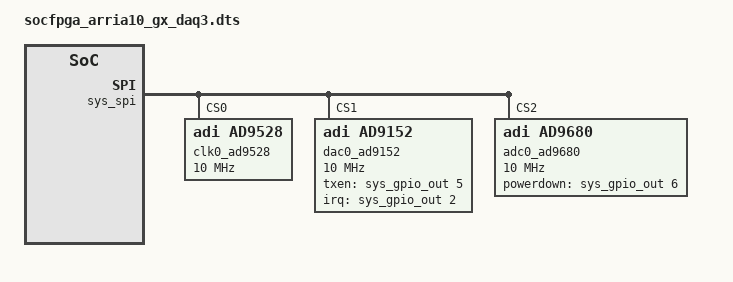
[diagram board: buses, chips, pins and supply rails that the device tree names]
// SPDX-License-Identifier: GPL-2.0
/*
 * Analog Devices AD-FMCDAQ3-EBZ
 * Link: https://wiki.analog.com/resources/eval/user-guides/ad-fmcdaq3-ebz
 *
 * hdl_project: <daq3/a10gx>
 * board_revision: <>
 *
 * Copyright 2016-2020 Analog Devices Inc.
 */
/dts-v1/;

#include <dt-bindings/iio/frequency/ad9528.h>
#include "socfpga_arria10_gx.dtsi"

/ {
	clocks {

		dma_clk: dma_clk {
			#clock-cells = <0>;
			compatible = "fixed-clock";
			clock-frequency = <226652000>;
			clock-output-names = "dma_clock";
		};
	};

	sopc0: sopc {
		

		sys_spi: spi@10050ca0 {
			compatible = "altr,spi-1.0";
			reg = <0x10050ca0 0x00000020>;
			interrupt-parent = <&sys_cpu>;
			interrupts = <7>;

			#address-cells = <1>;
			#size-cells = <0>;

            clk0_ad9528: ad9528@0 {
            		#address-cells = <1>;
            		#size-cells = <0>;
            		compatible = "adi,ad9528";
            
            		spi-cpol;
            		spi-cpha;
            		spi-max-frequency = <10000000>;
            		adi,spi-3wire-enable;
            		reg = <0>;
            
            		clock-output-names = "ad9528_out0", "ad9528_out1", "ad9528_out2", "ad9528_out3", "ad9528_out4", "ad9528_out5", "ad9528_out6", "ad9528_out7", "ad9528_out8", "ad9528_out9", "ad9528_out10", "ad9528_out11", "ad9528_out12", "ad9528_out13";
            		#clock-cells = <1>;
            
            		adi,vcxo-freq = <100000000>;
            
            		jesd204-device;
            		#jesd204-cells = <2>;
            		jesd204-sysref-provider;
            
            		/* PLL1 config */
            		adi,pll1-bypass-enable;
            		adi,osc-in-diff-enable;
            
            		/* PLL2 config */
            		/*
            		 * Valid ranges based on VCO locking range:
            		 *   1150.000 MHz - 1341.666 MHz
            		 *    862.500 MHz - 1006.250 MHz
            		 *    690.000 MHz -  805.000 MHz
            		 */
            		adi,pll2-m1-frequency = <1233333333>;
            		adi,pll2-charge-pump-current-nA = <35000>;
            
            		/* SYSREF config */
            		adi,sysref-src = <SYSREF_SRC_INTERNAL>;
            		adi,sysref-k-div = <128>;
            		adi,sysref-pattern-mode = <SYSREF_PATTERN_CONTINUOUS>;
            
            		adi,rpole2 = <RPOLE2_900_OHM>;
            		adi,rzero = <RZERO_1850_OHM>;
            		adi,cpole1 = <CPOLE1_16_PF>;
            
            		ad9528_0_c2: channel@2 {
            			reg = <2>;
            			adi,extended-name = "DAC_CLK";
            			adi,driver-mode = <DRIVER_MODE_LVDS>;
            			adi,divider-phase = <0>;
            			adi,channel-divider = <1>;
            			adi,signal-source = <SOURCE_VCO>;
            		};
            
            		ad9528_0_c4: channel@4 {
            			reg = <4>;
            			adi,extended-name = "DAC_CLK_FMC";
            			adi,driver-mode = <DRIVER_MODE_LVDS>;
            			adi,divider-phase = <0>;
            			adi,channel-divider = <2>;
            			adi,signal-source = <SOURCE_VCO>;
            		};
            
            		ad9528_0_c5: channel@5 {
            			reg = <5>;
            			adi,extended-name = "DAC_SYSREF";
            			adi,driver-mode = <DRIVER_MODE_LVDS>;
            			adi,divider-phase = <0>;
            			adi,channel-divider = <1>;
            			adi,signal-source = <SOURCE_SYSREF_VCO>;
            			adi,jesd204-sysref-chan;
            		};
            
            		ad9528_0_c6: channel@6 {
            			reg = <6>;
            			adi,extended-name = "CLKD_DAC_SYSREF";
            			adi,driver-mode = <DRIVER_MODE_LVDS>;
            			adi,divider-phase = <0>;
            			adi,channel-divider = <2>;
            			adi,signal-source = <SOURCE_SYSREF_VCO>;
            			adi,jesd204-sysref-chan;
            		};
            
            		ad9528_0_c7: channel@7 {
            			reg = <7>;
            			adi,extended-name = "CLKD_ADC_SYSREF";
            			adi,driver-mode = <DRIVER_MODE_LVDS>;
            			adi,divider-phase = <0>;
            			adi,channel-divider = <2>;
            			adi,signal-source = <SOURCE_SYSREF_VCO>;
            			adi,jesd204-sysref-chan;
            		};
            
            		ad9528_0_c8: channel@8 {
            			reg = <8>;
            			adi,extended-name = "ADC_SYSREF";
            			adi,driver-mode = <DRIVER_MODE_LVDS>;
            			adi,divider-phase = <0>;
            			adi,channel-divider = <1>;
            			adi,signal-source = <SOURCE_SYSREF_VCO>;
            			adi,jesd204-sysref-chan;
            		};
            
            		ad9528_0_c9: channel@9 {
            			reg = <9>;
            			adi,extended-name = "ADC_CLK_FMC";
            			adi,driver-mode = <DRIVER_MODE_LVDS>;
            			adi,divider-phase = <0>;
            			adi,channel-divider = <2>;
            			adi,signal-source = <SOURCE_VCO>;
            		};
            
            		ad9528_0_c13: channel@13 {
            			reg = <13>;
            			adi,extended-name = "ADC_CLK";
            			adi,driver-mode = <DRIVER_MODE_LVDS>;
            			adi,divider-phase = <0>;
            			adi,channel-divider = <1>;
            			adi,signal-source = <SOURCE_VCO>;
            		};
            	};

	            dac0_ad9152: ad9152@1 {
	            	#address-cells = <1>;
	            	#size-cells = <0>;
	            	compatible = "adi,ad9152";
            
	            	spi-cpol;
	            	spi-cpha;
	            	spi-max-frequency = <10000000>;
	            	adi,spi-3wire-enable;
	            	reg = <1>;
            
	            	clocks = <&clk0_ad9528 2>;
	            	clock-names = "dac_clk";
            
	            	/*
	            	 * | MODE | M | L | S | F | HD | N  | N' |
	            	 * |  00  | 4 | 8 | 1 | 1 | 1  | 16 | 16 |
	            	 * |  01  | 4 | 8 | 2 | 2 | 0  | 16 | 16 |
	            	 * |  02  | 4 | 4 | 1 | 2 | 0  | 16 | 16 |
	            	 * |  03  | 4 | 2 | 1 | 4 | 0  | 16 | 16 |
	            	 * |  04  | 2 | 4 | 1 | 1 | 1  | 16 | 16 |
	            	 * |  05  | 2 | 4 | 2 | 2 | 0  | 16 | 16 |
	            	 * |  06  | 2 | 2 | 1 | 2 | 0  | 16 | 16 |
	            	 * |  07  | 2 | 1 | 1 | 4 | 0  | 16 | 16 |
	            	 * |  08  | 1 | 4 | 2 | 1 | 1  | 16 | 16 |
	            	 * |  09  | 1 | 2 | 1 | 1 | 1  | 16 | 16 |
	            	 * |  10  | 1 | 1 | 1 | 2 | 0  | 16 | 16 |
	            	 * |  11  | 2 | 8 | 2 | 1 | 1  | 16 | 16 |
	            	 * |  12  | 2 | 4 | 1 | 1 | 1  | 16 | 16 |
	            	 * |  13  | 2 | 2 | 1 | 2 | 0  | 16 | 16 |
	            	 */
            
	            	adi,jesd-link-mode = <4>;
	            	adi,sysref-mode = <1>; /* JESD204_SYSREF_CONTINUOUS */
	            	adi,subclass = <1>;
	            	adi,interpolation = <1>;
	            	adi,frequency-center-shift = <0>;
            
	            	/* jesd204-fsm support */
	            	jesd204-device;
	            	#jesd204-cells = <2>;
	            	jesd204-top-device = <1>; /* This is the TOP device */
	            	jesd204-link-ids = <0>;
	            	jesd204-inputs = <&axi_ad9152_core 1 0>;
                    txen-gpios = <&sys_gpio_out 5 0>;
	                irq-gpios =  <&sys_gpio_out 2 0>;   // offset 32 
	            };
            
	            adc0_ad9680: ad9680@2 {
	            	#address-cells = <1>;
	            	#size-cells = <0>;
	            	compatible = "adi,ad9680";
            
	            	spi-cpol;
	            	spi-cpha;
	            	spi-max-frequency = <10000000>;
	            	adi,spi-3wire-enable;
	            	reg = <2>;
            
	            	/* Content of Registers: 0x16, 0x18, 0x19, 0x1A, 0x30, 0x11A, 0x934, 0x935 */
	            	adi,sfdr-optimization-config = <0xE 0xA0 0x50 0x09 0x18 0x00 0x1F 0x04>;
            
	            	clocks = <&clk0_ad9528 13>;
	            	clock-names = "adc_clk";
            
	            	/* jesd204-fsm support */
	            	jesd204-device;
	            	#jesd204-cells = <2>;
	            	jesd204-top-device = <0>; /* This is the TOP device */
	            	jesd204-link-ids = <0>;
	            	jesd204-inputs = <&axi_ad9680_core 0 0>;
            
	            	adi,powerdown-mode = <AD9208_PDN_MODE_POWERDOWN>;
            
	            	adi,sampling-frequency = /bits/ 64 <1233333333>;
	            	adi,input-clock-divider-ratio = <1>;
            
	            	adi,sysref-lmfc-offset = <0>;
	            	adi,sysref-pos-window-skew = <0>;
	            	adi,sysref-neg-window-skew = <0>;
	            	adi,sysref-mode = <AD9208_SYSREF_CONT>;
	            	adi,sysref-nshot-ignore-count = <0>;
            
	            	/* JESD204 parameters */
            
	            	adi,converters-per-device = <2>;	/* JESD204 (M) */
	            	adi,lanes-per-device = <4>;		/* JESD204 (L) */
	            	adi,octets-per-frame = <1>;		/* JESD204 (F) */
	            	adi,frames-per-multiframe = <32>;	/* JESD204 (K) */
	            	adi,converter-resolution = <14>;	/* JESD204 (N) */
	            	adi,bits-per-sample = <16>;		/* JESD204 (N') */
	            	adi,control-bits-per-sample = <2>;	/* JESD204 (CS) */
	            	adi,subclass = <1>;			/* JESD204 (SUBCLASSV) */
            
	            	/* DDC setup */
            
	            	adi,ddc-channel-number = <AD9208_FULL_BANDWIDTH_MODE>;
            
	            	ad9208_ddc0: channel@0 {
	            		reg = <0>;
	            		adi,decimation = <2>;
	            		adi,nco-mode-select = <AD9208_NCO_MODE_VIF>;
	            		adi,nco-channel-carrier-frequency-hz = /bits/ 64 <70000000>;
	            		adi,nco-channel-phase-offset = /bits/ 64 <0>;
	            	};

                       powerdown-gpios = <&sys_gpio_out 6 0>;   /// offset 32 
	            };
        };

  	    tx_dma: tx-dmac@1006c000 {
        		compatible = "adi,axi-dmac-1.00.a";
        		reg = <0x1006c000 0x1000>;
        		#dma-cells = <1>;
        		interrupts = <0 56 IRQ_TYPE_LEVEL_HIGH>;
        		clocks = <&clkc 16>;
        
        		adi,channels {
        			#address-cells = <1>;
        			#size-cells = <0>;
        
        			dma-channel@0 {
        				reg = <0>;
        				adi,source-bus-width = <128>;
        				adi,source-bus-type = <0>;
        				adi,destination-bus-width = <128>;
        				adi,destination-bus-type = <1>;
        			};
        		};
        	};

        rx_dma: rx-dmac@1007c000 {
        		compatible = "adi,axi-dmac-1.00.a";
        		reg = <0x1007c000 0x1000>;
        		#dma-cells = <1>;
        		interrupts = <0 57 IRQ_TYPE_LEVEL_HIGH>;
        		clocks = <&clkc 16>;
        
        		adi,channels {
        			#address-cells = <1>;
        			#size-cells = <0>;
        
        			dma-channel@0 {
        				reg = <0>;
        				adi,source-bus-width = <64>;
        				adi,source-bus-type = <2>;
        				adi,destination-bus-width = <64>;
        				adi,destination-bus-type = <0>;
        			};
        		};
        	};
        
      
        
        axi_ad9152_core: axi-ad9152-hpc@10080000  {
        		compatible = "adi,axi-ad9144-1.0";
        		reg = <0x10080000 0x4000>;
        		dmas = <&tx_dma 0>;
        		dma-names = "tx";
        
        		spibus-connected = <&dac0_ad9152>;
        		adi,axi-pl-fifo-enable;
        
        		/* jesd204-fsm support */
        		jesd204-device;
        		#jesd204-cells = <2>;
        		jesd204-inputs = <&axi_ad9152_jesd 1 0>;
           };

		axi_ad9680_core: axi-ad9680-hpc@10084000 {
        		compatible = "adi,axi-ad9680-1.0";
        		reg = <0x10084000 0x10000>;
        		dmas = <&rx_dma 0>;
        		dma-names = "rx";
        
        		spibus-connected = <&adc0_ad9680>;
        
        		/* jesd204-fsm support */
        		jesd204-device;
        		#jesd204-cells = <2>;
        		jesd204-inputs = <&axi_ad9680_jesd 0 0>;
        	};
        
        axi_ad9152_jesd: axi-jesd204-tx@10060000 {
        		compatible = "adi,axi-jesd204-tx-1.0";
        		reg = <0x10060000 0x1000>;
        
        		interrupt-parent = <&sys_cpu>;
			    interrupts = <9>;
        
        		clocks = <&clkc 16>, <&axi_ad9152_adxcvr 1>, <&axi_ad9152_adxcvr 0>;
        		clock-names = "s_axi_aclk", "device_clk", "lane_clk";
        		#clock-cells = <0>;
        		clock-output-names = "jesd_dac_lane_clk";
        
        		/* jesd204-fsm support */
        		jesd204-device;
        		#jesd204-cells = <2>;
        		jesd204-inputs = <&axi_ad9152_adxcvr 1 0>;
        	};
        
        axi_ad9680_jesd: axi-jesd204-rx@10070000 {
        		compatible = "adi,axi-jesd204-rx-1.0";
        		reg = <0x10070000 0x1000>;
        
        		interrupt-parent = <&sys_cpu>;
			    interrupts = <8>;
        
        		clocks = <&clkc 16>, <&axi_ad9680_adxcvr 1>, <&axi_ad9680_adxcvr 0>;
        		clock-names = "s_axi_aclk", "device_clk", "lane_clk";
        		#clock-cells = <0>;
        
        		clock-output-names = "jesd_adc_lane_clk";
        		/* jesd204-fsm support */
        		jesd204-device;
        		#jesd204-cells = <2>;
        		jesd204-inputs = <&axi_ad9680_adxcvr 0 0>;
        	};

        axi_ad9152_adxcvr: axi-adxcvr-tx@10064000 {
        		compatible = "adi,altera-adxcvr-1.00.a";
			    reg = <0x10064000 0x0001000>,
			    	  <0x10066000 0x00001000>,
			    	  <0x10068000 0x00001000>,
			    	  <0x10069000 0x00001000>,
			    	  <0x1006a000 0x00001000>,
			    	  <0x1006b000 0x00001000>;
			    reg-names = "adxcvr", "atx-pll", "adxcfg-0", "adxcfg-1", "adxcfg-2", "adxcfg-3";

			    #clock-cells = <0>;
        	    clocks = <&clk0_ad9523 9>, <&tx_device_clk_pll>, <&clk0_ad9523 7>;
			    clock-names = "ref", "link", "sysref";
        		clock-output-names = "jesd204_tx_lane_clock";
        	};

        axi_ad9680_adxcvr: axi-adxcvr-rx@44a50000 {
                compatible = "adi,altera-adxcvr-1.00.a";
			    reg = <0x10074000 0x00001000>,
			    	  <0x10078000 0x00001000>,
			    	  <0x10079000 0x00001000>,
			    	  <0x1007a000 0x00001000>,
			    	  <0x1007b000 0x00001000>;
			    reg-names = "adxcvr", "adxcfg-0", "adxcfg-1", "adxcfg-2", "adxcfg-3";
        
        		#clock-cells = <0>;
        		clocks = <&clk0_ad9523 4>, <&rx_device_clk_pll>, <&clk0_ad9523 6>;
			    clock-names = "ref", "link", "sysref";
			    clock-output-names = "jesd204_rx_lane_clock";
        
        		adi,sys-clk-select = <XCVR_QPLL>;
        		adi,out-clk-select = <XCVR_REFCLK_DIV2>;
        		adi,vco1-max-khz = <12333340>;
        		adi,use-lpm-enable;
        
        		/* jesd204-fsm support */
        		jesd204-device;
        		#jesd204-cells = <2>;
        		jesd204-inputs = <&clk0_ad9528 0 0>;
        	};

		tx_device_clk_pll: altera-a10-fpll@10065000 {
				compatible = "altr,a10-fpll";
				reg = <0x10065000 0x1000>;
				clocks = <&clk0_ad9528 1>;

				#clock-cells = <0>;
				clock-output-names = "jesd204_tx_link_clock";
			};

		rx_device_clk_pll: altera-a10-fpll@10075000 {
				compatible = "altr,a10-fpll";
				reg = <0x10075000 0x1000>;
				clocks = <&clk0_ad9528 1>;

				#clock-cells = <0>;
				clock-output-names = "jesd204_rx_link_clock";
			};
    };  
		
};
